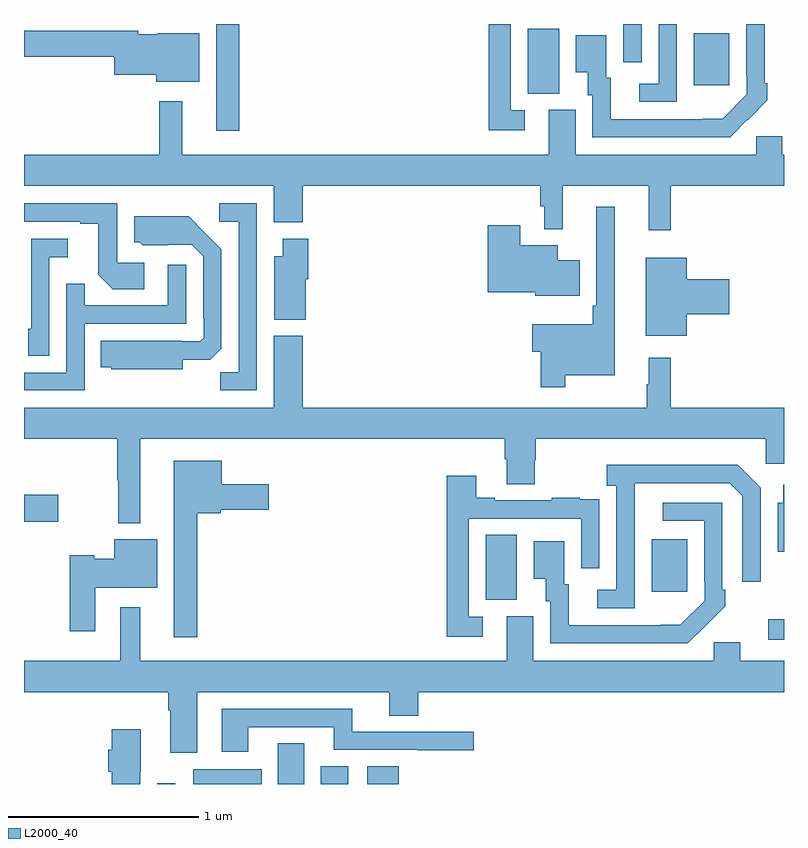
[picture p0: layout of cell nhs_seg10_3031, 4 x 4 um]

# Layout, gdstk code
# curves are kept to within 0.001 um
import gdstk
lib = gdstk.Library(unit=1e-6, precision=1e-09)
def R(c, l, rs):  # rectangles x0, y0, x1, y1
    for r in rs: c.add(gdstk.rectangle(r[:2], r[2:], *l))
def P(c, l, *ps):  # polygons
    for p in ps: c.add(gdstk.Polygon(p, *l))
L2000_40 = (2000, 40)

nhs_seg10_3031 = lib.new_cell('nhs_seg10_3031')
R(nhs_seg10_3031, L2000_40, [(275.7,1298.5,275.796,1298.503), (275.892,1298.5,276.25,1298.578), (276.335,1298.5,276.475,1298.714), (276.563,1298.5,276.706,1298.594), (276.806,1298.5,276.973,1298.594), (278.916,1299.258,279,1299.367), (277.43,1299.469,277.594,1299.812), (278.303,1299.513,278.491,1299.787), (275,1299.881,275.179,1300.023), (276.011,1301.937,276.133,1302.5), (277.652,1302.133,277.816,1302.476), (278.525,1302.177,278.713,1302.451), (278.154,1302.3,278.25,1302.5)])
P(nhs_seg10_3031, L2000_40, [(278.807,1301.995),(278.808,1301.994),(278.913,1302.099),(278.913,1302.187),(278.898,1302.187),(278.898,1302.5),(278.802,1302.5),(278.802,1302.229),(278.805,1302.229),(278.805,1302.129),(278.677,1302.001),(278.089,1302),(278.089,1302.216),(278.065,1302.216),(278.065,1302.442),(277.904,1302.442),(277.904,1302.245),(277.967,1302.245),(277.967,1302.126),(277.992,1302.126),(277.992,1301.904),(278.716,1301.904)],
  [(278.436,1302.5),(278.34,1302.5),(278.34,1302.186),(278.238,1302.186),(278.238,1302.09),(278.436,1302.09)],
  [(277.636,1302.045),(277.563,1302.045),(277.563,1302.5),(277.447,1302.5),(277.447,1301.94),(277.636,1301.94)],
  [(275.923,1302.451),(275.7,1302.451),(275.7,1302.445),(275.6,1302.445),(275.6,1302.464),(275,1302.464),(275,1302.328),(275.474,1302.328),(275.474,1302.233),(275.696,1302.233),(275.696,1302.197),(275.923,1302.197)],
  [(278.405,1301.648),(279,1301.648),(279,1301.812),(278.992,1301.812),(278.992,1301.91),(278.853,1301.91),(278.853,1301.812),(277.903,1301.812),(277.903,1302.048),(277.763,1302.048),(277.763,1301.812),(275.833,1301.812),(275.833,1302.094),(275.712,1302.094),(275.712,1301.812),(275,1301.812),(275,1301.648),(276.314,1301.648),(276.314,1301.456),(276.467,1301.456),(276.467,1301.648),(277.717,1301.648),(277.717,1301.541),(277.737,1301.541),(277.737,1301.42),(277.835,1301.42),(277.835,1301.648),(278.288,1301.648),(278.288,1301.415),(278.405,1301.415)],
  [(275.632,1301.244),(275.49,1301.244),(275.49,1301.556),(275,1301.556),(275,1301.46),(275.297,1301.46),(275.297,1301.448),(275.391,1301.448),(275.391,1301.18),(275.467,1301.104),(275.632,1301.104)],
  [(276.225,1301.556),(276.027,1301.556),(276.027,1301.46),(276.129,1301.46),(276.129,1300.667),(276.034,1300.667),(276.034,1300.572),(276.225,1300.572)],
  [(277.849,1300.652),(278.11,1300.652),(278.11,1301.539),(278.013,1301.539),(278.013,1301.017),(277.993,1301.017),(277.993,1300.921),(277.676,1300.921),(277.676,1300.774),(277.72,1300.774),(277.72,1300.587),(277.849,1300.587)],
  [(275.836,1300.733),(275.98,1300.733),(276.039,1300.792),(276.039,1301.314),(275.867,1301.488),(275.579,1301.488),(275.579,1301.352),(275.61,1301.352),(275.626,1301.336),(275.883,1301.337),(275.943,1301.277),(275.943,1300.948),(275.946,1300.948),(275.946,1300.848),(275.928,1300.83),(275.828,1300.83),(275.828,1300.834),(275.404,1300.834),(275.404,1300.694),(275.46,1300.694),(275.46,1300.682),(275.836,1300.682)],
  [(277.924,1301.257),(277.81,1301.257),(277.81,1301.335),(277.612,1301.335),(277.612,1301.44),(277.442,1301.44),(277.442,1301.087),(277.692,1301.087),(277.692,1301.069),(277.924,1301.069)],
  [(276.484,1301.157),(276.497,1301.157),(276.497,1301.371),(276.362,1301.371),(276.362,1301.278),(276.317,1301.278),(276.317,1300.943),(276.484,1300.943)],
  [(275.133,1301.273),(275.23,1301.273),(275.23,1301.37),(275.037,1301.37),(275.037,1300.896),(275.022,1300.896),(275.022,1300.753),(275.133,1300.753)],
  [(278.488,1300.973),(278.713,1300.973),(278.713,1301.156),(278.488,1301.156),(278.488,1301.269),(278.273,1301.269),(278.273,1300.859),(278.488,1300.859)],
  [(275.319,1300.923),(275.853,1300.923),(275.853,1301.233),(275.757,1301.233),(275.757,1301.019),(275.321,1301.019),(275.321,1301.132),(275.223,1301.132),(275.223,1300.665),(275,1300.665),(275,1300.572),(275.319,1300.572)],
  [(278.904,1300.185),(279,1300.185),(279,1300.48),(278.405,1300.48),(278.405,1300.744),(278.288,1300.744),(278.288,1300.604),(278.277,1300.604),(278.277,1300.48),(276.467,1300.48),(276.467,1300.858),(276.314,1300.858),(276.314,1300.48),(275,1300.48),(275,1300.316),(275.49,1300.316),(275.49,1300.1),(275.497,1300.1),(275.497,1299.872),(275.611,1299.872),(275.611,1300.316),(277.529,1300.316),(277.529,1300.21),(277.541,1300.21),(277.541,1300.078),(277.689,1300.078),(277.689,1300.203),(277.694,1300.203),(277.694,1300.316),(278.904,1300.316)],
  [(275.911,1299.926),(276.036,1299.926),(276.036,1299.944),(276.289,1299.944),(276.289,1300.078),(276.04,1300.078),(276.04,1300.201),(275.789,1300.201),(275.789,1299.273),(275.911,1299.273)],
  [(278.214,1299.883),(278.215,1300.083),(278.715,1300.083),(278.781,1300.017),(278.781,1299.564),(278.877,1299.564),(278.877,1300.059),(278.756,1300.18),(278.067,1300.18),(278.067,1300.07),(278.118,1300.07),(278.118,1299.522),(278.016,1299.522),(278.016,1299.426),(278.214,1299.426)],
  [(277.414,1299.381),(277.341,1299.381),(277.341,1299.897),(277.932,1299.897),(277.932,1299.636),(278.028,1299.636),(278.028,1299.89),(278.027,1299.89),(278.027,1299.999),(277.925,1299.999),(277.925,1300.006),(277.777,1300.006),(277.777,1299.993),(277.477,1299.993),(277.477,1300.006),(277.381,1300.006),(277.381,1300.123),(277.225,1300.123),(277.225,1299.276),(277.414,1299.276)],
  [(279,1300.075),(278.996,1300.075),(278.996,1299.979),(278.966,1299.979),(278.966,1299.722),(279,1299.722)],
  [(278.585,1299.331),(278.586,1299.33),(278.691,1299.435),(278.691,1299.523),(278.676,1299.523),(278.676,1299.981),(278.361,1299.981),(278.361,1299.885),(278.58,1299.885),(278.58,1299.565),(278.583,1299.565),(278.583,1299.465),(278.455,1299.337),(277.867,1299.336),(277.867,1299.552),(277.843,1299.552),(277.843,1299.778),(277.682,1299.778),(277.682,1299.581),(277.745,1299.581),(277.745,1299.462),(277.77,1299.462),(277.77,1299.24),(278.494,1299.24)],
  [(275.374,1299.533),(275.701,1299.533),(275.701,1299.787),(275.474,1299.787),(275.474,1299.686),(275.37,1299.686),(275.37,1299.704),(275.24,1299.704),(275.24,1299.303),(275.374,1299.303)],
  [(275.911,1298.984),(276.923,1298.984),(276.923,1298.86),(277.076,1298.86),(277.076,1298.984),(279,1298.984),(279,1299.148),(278.77,1299.148),(278.77,1299.246),(278.631,1299.246),(278.631,1299.148),(277.681,1299.148),(277.681,1299.384),(277.541,1299.384),(277.541,1299.148),(275.611,1299.148),(275.611,1299.43),(275.507,1299.43),(275.507,1299.148),(275,1299.148),(275,1298.984),(275.759,1298.984),(275.759,1298.888),(275.771,1298.888),(275.771,1298.664),(275.911,1298.664)],
  [(276.181,1298.799),(276.629,1298.799),(276.629,1298.679),(277.069,1298.679),(277.069,1298.677),(277.366,1298.677),(277.366,1298.775),(276.728,1298.775),(276.728,1298.895),(276.041,1298.895),(276.041,1298.67),(276.181,1298.67)],
  [(275.611,1298.565),(275.614,1298.565),(275.614,1298.788),(275.462,1298.788),(275.462,1298.679),(275.444,1298.679),(275.444,1298.565),(275.462,1298.565),(275.462,1298.5),(275.611,1298.5)])

lib.write_gds('nhs_seg10_3031.gds')
